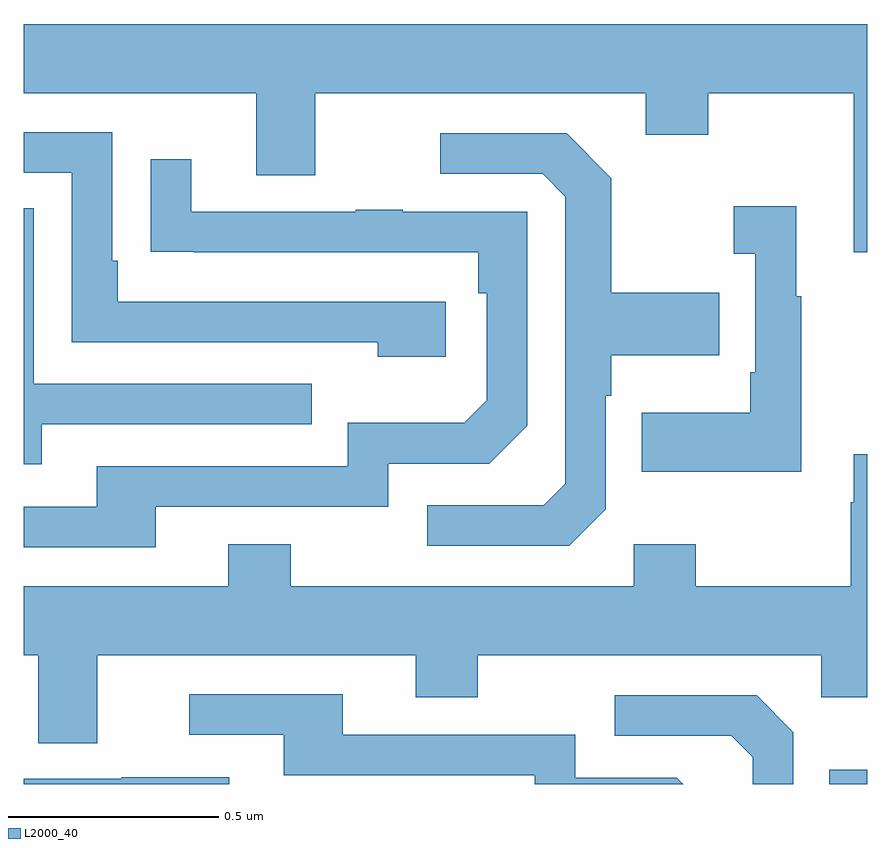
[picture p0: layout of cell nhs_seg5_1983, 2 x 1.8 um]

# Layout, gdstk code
import gdstk
lib = gdstk.Library(unit=1e-6, precision=1e-09)
def R(c, l, rs):  # rectangles x0, y0, x1, y1
    for r in rs: c.add(gdstk.rectangle(r[:2], r[2:], *l))
def P(c, l, *ps):  # polygons
    for p in ps: c.add(gdstk.Polygon(p, *l))
L2000_40 = (2000, 40)

nhs_seg5_1983 = lib.new_cell('nhs_seg5_1983')
R(nhs_seg5_1983, L2000_40, [(139.909,845.799,140,845.833)])
P(nhs_seg5_1983, L2000_40, [(140,847.6),(138,847.6),(138,847.436),(138.551,847.436),(138.551,847.242),(138.691,847.242),(138.691,847.436),(139.475,847.436),(139.475,847.337),(139.623,847.337),(139.623,847.436),(139.967,847.436),(139.967,847.059),(140,847.059)],
  [(139,846.942),(138.223,846.942),(138.223,847.039),(138.21,847.039),(138.21,847.344),(138,847.344),(138,847.248),(138.114,847.248),(138.114,846.846),(138.839,846.846),(138.839,846.812),(139,846.812)],
  [(139.38,846.45),(139.38,846.719),(139.393,846.719),(139.393,846.815),(139.649,846.815),(139.649,846.963),(139.393,846.963),(139.393,847.235),(139.287,847.341),(138.987,847.341),(138.987,847.245),(139.23,847.245),(139.284,847.191),(139.284,846.51),(139.233,846.459),(138.957,846.459),(138.957,846.363),(139.293,846.363)],
  [(138.313,846.456),(138.864,846.456),(138.864,846.558),(139.104,846.558),(139.194,846.648),(139.194,847.155),(138.899,847.155),(138.899,847.16),(138.787,847.16),(138.787,847.155),(138.397,847.155),(138.397,847.279),(138.301,847.279),(138.301,847.06),(138.403,847.06),(138.403,847.059),(139.078,847.059),(139.078,846.962),(139.098,846.962),(139.098,846.708),(139.045,846.655),(138.768,846.655),(138.768,846.552),(138.173,846.552),(138.173,846.456),(138,846.456),(138,846.36),(138.313,846.36)],
  [(139.843,846.955),(139.831,846.955),(139.831,847.168),(139.683,847.168),(139.683,847.055),(139.734,847.055),(139.734,846.775),(139.722,846.775),(139.722,846.679),(139.465,846.679),(139.465,846.539),(139.843,846.539)],
  [(138.043,846.651),(138.683,846.651),(138.683,846.747),(138.024,846.747),(138.024,847.163),(138,847.163),(138,846.557),(138.043,846.557)],
  [(138.175,846.104),(138.929,846.104),(138.929,846.005),(139.077,846.005),(139.077,846.104),(139.89,846.104),(139.89,846.005),(140,846.005),(140,846.58),(139.967,846.58),(139.967,846.467),(139.96,846.467),(139.96,846.268),(139.593,846.268),(139.593,846.367),(139.446,846.367),(139.446,846.268),(138.633,846.268),(138.633,846.367),(138.485,846.367),(138.485,846.268),(138,846.268),(138,846.104),(138.035,846.104),(138.035,845.896),(138.175,845.896)],
  [(139.548,845.814),(139.308,845.814),(139.308,845.916),(138.757,845.916),(138.757,846.012),(138.393,846.012),(138.393,845.916),(138.617,845.916),(138.617,845.82),(139.212,845.82),(139.212,845.799),(139.563,845.799)],
  [(139.824,845.922),(139.737,846.009),(139.401,846.009),(139.401,845.913),(139.677,845.913),(139.728,845.862),(139.728,845.799),(139.824,845.799)],
  [(138.487,845.815),(138.233,845.815),(138.233,845.811),(138,845.811),(138,845.799),(138.487,845.799)])

lib.write_gds('nhs_seg5_1983.gds')
